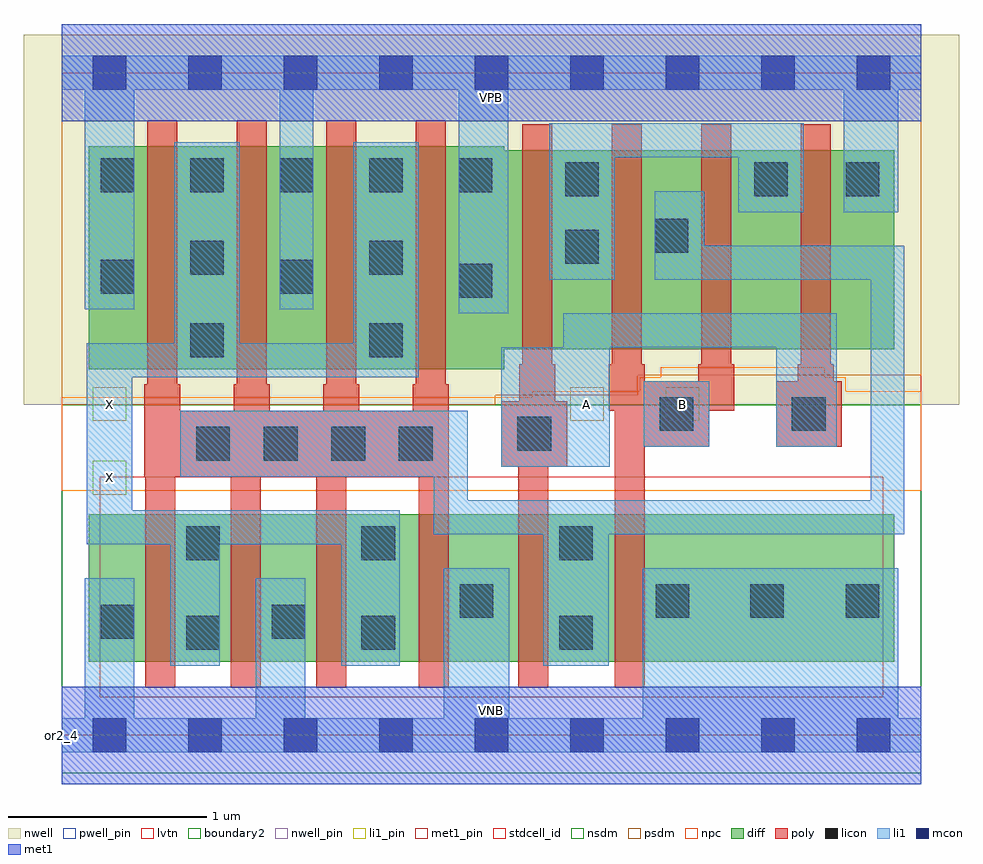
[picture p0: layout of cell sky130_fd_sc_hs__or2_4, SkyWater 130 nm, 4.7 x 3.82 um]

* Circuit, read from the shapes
.subckt sky130_fd_sc_hs__or2_4 A B VGND VNB VPB VPWR X
XM1 X n1 VGND VNB sky130_fd_pr__nfet_01v8_lvt w=0.74 l=0.15 m=4
XM2 n1 A VGND VNB sky130_fd_pr__nfet_01v8_lvt w=0.74 l=0.15
XM3 VGND B n1 VNB sky130_fd_pr__nfet_01v8_lvt w=0.74 l=0.15
XM4 X n1 VPWR VPB sky130_fd_pr__pfet_01v8 w=1.12 l=0.15 m=4
XM5 n2 A VPWR VPB sky130_fd_pr__pfet_01v8 w=1 l=0.15 m=2
XM6 n1 B n2 VPB sky130_fd_pr__pfet_01v8 w=1 l=0.15 m=2
.ends

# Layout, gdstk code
import gdstk
lib = gdstk.Library(unit=1e-6, precision=1e-09)
def R(c, l, rs):  # rectangles x0, y0, x1, y1
    for r in rs: c.add(gdstk.rectangle(r[:2], r[2:], *l))
def A(c, l, x, y, w, h, nx, ny, dx, dy):  # array of equal rectangles
    R(c, l, [(x+i*dx, y+j*dy, x+i*dx+w, y+j*dy+h) for i in range(nx) for j in range(ny)])
def P(c, l, *ps):  # polygons
    for p in ps: c.add(gdstk.Polygon(p, *l))
nwell_pin = (64, 16)
nwell = (64, 20)
diff = (65, 20)
poly = (66, 20)
licon = (66, 44)
li1_pin = (67, 16)
li1 = (67, 20)
mcon = (67, 44)
met1_pin = (68, 16)
met1 = (68, 20)
stdcell_id = (81, 4)
nsdm = (93, 44)
psdm = (94, 20)
npc = (95, 20)
pwell_pin = (122, 16)
lvtn = (125, 44)
boundary2 = (236, 0)

sky130_fd_sc_hs__or2_4 = lib.new_cell('sky130_fd_sc_hs__or2_4')
R(sky130_fd_sc_hs__or2_4, nwell_pin, [(0,3.085,4.32,3.33)])
R(sky130_fd_sc_hs__or2_4, nwell, [(-0.19,1.66,4.51,3.52)])
R(sky130_fd_sc_hs__or2_4, diff, [(0.135,0.37,4.185,1.11)])
P(sky130_fd_sc_hs__or2_4, diff, [(4.185,2.94),(2.225,2.94),(2.225,2.96),(0.135,2.96),(0.135,1.84),(2.225,1.84),(2.225,1.94),(4.185,1.94)])
P(sky130_fd_sc_hs__or2_4, poly, [(3.92,1.78),(3.88,1.78),(3.88,1.865),(3.865,1.865),(3.865,3.07),(3.715,3.07),(3.715,1.865),(3.7,1.865),(3.7,1.78),(3.59,1.78),(3.59,1.45),(3.92,1.45)],
  [(3.38,1.865),(3.365,1.865),(3.365,3.07),(3.215,3.07),(3.215,1.865),(3.2,1.865),(3.2,1.78),(2.93,1.78),(2.93,1.865),(2.915,1.865),(2.915,3.07),(2.765,3.07),(2.765,1.865),(2.75,1.865),(2.75,1.63),(2.78,1.63),(2.78,0.24),(2.93,0.24),(2.93,1.45),(3.255,1.45),(3.255,1.63),(3.38,1.63)],
  [(2.54,1.68),(2.48,1.68),(2.48,1.865),(2.465,1.865),(2.465,3.07),(2.315,3.07),(2.315,1.865),(2.3,1.865),(2.3,1.68),(2.21,1.68),(2.21,1.35),(2.295,1.35),(2.295,0.24),(2.445,0.24),(2.445,1.35),(2.54,1.35)],
  [(1.945,1.765),(1.93,1.765),(1.93,3.09),(1.78,3.09),(1.78,1.765),(1.765,1.765),(1.765,1.63),(1.495,1.63),(1.495,1.765),(1.48,1.765),(1.48,3.09),(1.33,3.09),(1.33,1.765),(1.315,1.765),(1.315,1.63),(1.045,1.63),(1.045,1.765),(1.03,1.765),(1.03,3.09),(0.88,3.09),(0.88,1.765),(0.865,1.765),(0.865,1.63),(0.595,1.63),(0.595,1.765),(0.58,1.765),(0.58,3.09),(0.43,3.09),(0.43,1.765),(0.415,1.765),(0.415,1.3),(0.42,1.3),(0.42,0.24),(0.57,0.24),(0.57,1.3),(0.85,1.3),(0.85,0.24),(1,0.24),(1,1.3),(1.28,1.3),(1.28,0.24),(1.43,0.24),(1.43,1.3),(1.795,1.3),(1.795,0.24),(1.945,0.24)])
A(sky130_fd_sc_hs__or2_4, licon, 0.675, 1.38, 0.17, 0.17, 4, 1, 0.34, 0)
A(sky130_fd_sc_hs__or2_4, licon, 0.195, 2.73, 0.17, 0.17, 5, 1, 0.45, 0)
R(sky130_fd_sc_hs__or2_4, licon, [(0.625,0.43,0.795,0.6), (1.505,0.43,1.675,0.6), (2.5,0.43,2.67,0.6), (0.195,0.485,0.365,0.655), (1.055,0.485,1.225,0.655), (2,0.59,2.17,0.76), (2.985,0.59,3.155,0.76), (3.46,0.59,3.63,0.76), (3.94,0.59,4.11,0.76), (0.625,0.88,0.795,1.05), (1.505,0.88,1.675,1.05), (2.5,0.88,2.67,1.05), (2.29,1.43,2.46,1.6), (3.005,1.53,3.175,1.7), (3.67,1.53,3.84,1.7), (0.645,1.9,0.815,2.07), (1.545,1.9,1.715,2.07), (1.995,2.2,2.165,2.37), (0.195,2.22,0.365,2.39), (1.095,2.22,1.265,2.39), (0.645,2.315,0.815,2.485), (1.545,2.315,1.715,2.485), (2.53,2.37,2.7,2.54), (2.98,2.425,3.15,2.595), (2.53,2.71,2.7,2.88), (3.48,2.71,3.65,2.88), (3.94,2.71,4.11,2.88)])
R(sky130_fd_sc_hs__or2_4, li1_pin, [(0.155,1.21,0.325,1.38), (0.155,1.58,0.325,1.75), (2.555,1.58,2.725,1.75), (3.035,1.58,3.205,1.75)])
R(sky130_fd_sc_hs__or2_4, li1, [(2.925,1.45,3.255,1.78)])
P(sky130_fd_sc_hs__or2_4, li1, [(0,-0.085),(0,0.085),(0.115,0.085),(0.115,0.79),(0.365,0.79),(0.365,0.085),(0.975,0.085),(0.975,0.79),(1.225,0.79),(1.225,0.085),(1.92,0.085),(1.92,0.84),(2.25,0.84),(2.25,0.085),(2.92,0.085),(2.92,0.84),(4.205,0.84),(4.205,0.085),(4.32,0.085),(4.32,-0.085)],
  [(0,3.245),(0,3.415),(4.32,3.415),(4.32,3.245),(4.205,3.245),(4.205,2.63),(3.93,2.63),(3.93,3.245),(2.245,3.245),(2.245,2.12),(1.995,2.12),(1.995,3.245),(1.265,3.245),(1.265,2.14),(1.095,2.14),(1.095,3.245),(0.365,3.245),(0.365,2.14),(0.115,2.14),(0.115,3.245)],
  [(0.355,1.13),(1.7,1.13),(1.7,0.35),(1.405,0.35),(1.405,0.96),(0.795,0.96),(0.795,0.35),(0.545,0.35),(0.545,0.96),(0.125,0.96),(0.125,1.97),(0.565,1.97),(0.565,2.98),(0.895,2.98),(0.895,1.97),(1.465,1.97),(1.465,2.98),(1.795,2.98),(1.795,1.8),(0.355,1.8)],
  [(2.21,1.35),(2.21,1.95),(2.52,1.95),(2.52,2.12),(3.895,2.12),(3.895,1.45),(3.59,1.45),(3.59,1.95),(2.755,1.95),(2.755,1.35)],
  [(1.87,1.01),(1.87,1.3),(0.595,1.3),(0.595,1.63),(2.04,1.63),(2.04,1.18),(4.065,1.18),(4.065,2.29),(2.98,2.29),(2.98,2.735),(3.23,2.735),(3.23,2.46),(4.235,2.46),(4.235,1.01),(2.75,1.01),(2.75,0.35),(2.42,0.35),(2.42,1.01)],
  [(3.4,2.63),(3.4,2.905),(2.78,2.905),(2.78,2.29),(2.45,2.29),(2.45,3.075),(3.73,3.075),(3.73,2.63)])
A(sky130_fd_sc_hs__or2_4, mcon, 0.155, -0.085, 0.17, 0.17, 9, 2, 0.48, 3.33)
R(sky130_fd_sc_hs__or2_4, met1_pin, [(0,0,4.32,0.245), (0,3.085,4.32,3.33)])
R(sky130_fd_sc_hs__or2_4, met1, [(0,-0.245,4.32,0.245), (0,3.085,4.32,3.575)])
R(sky130_fd_sc_hs__or2_4, stdcell_id, [(0,0,4.32,3.33)])
R(sky130_fd_sc_hs__or2_4, nsdm, [(0,-0.19,4.32,1.66)])
P(sky130_fd_sc_hs__or2_4, psdm, [(4.32,3.52),(0,3.52),(0,1.66),(2.18,1.66),(2.18,1.71),(2.895,1.71),(2.895,1.81),(4.32,1.81)])
P(sky130_fd_sc_hs__or2_4, npc, [(4.32,1.73),(3.94,1.73),(3.94,1.8),(3.835,1.8),(3.835,1.85),(3.01,1.85),(3.01,1.8),(2.905,1.8),(2.905,1.73),(2.365,1.73),(2.365,1.7),(0,1.7),(0,1.23),(4.32,1.23)])
R(sky130_fd_sc_hs__or2_4, pwell_pin, [(0,0,4.32,0.245)])
R(sky130_fd_sc_hs__or2_4, lvtn, [(0.19,0.19,4.13,1.3)])
R(sky130_fd_sc_hs__or2_4, boundary2, [(0,0,4.32,3.33)])
sky130_fd_sc_hs__or2_4.add(gdstk.Label('or2_4', (0,0), layer=83, texttype=44))
sky130_fd_sc_hs__or2_4.add(gdstk.Label('VNB', (2.16,0.123), layer=64, texttype=59))
sky130_fd_sc_hs__or2_4.add(gdstk.Label('VPB', (2.16,3.208), layer=64, texttype=5))
sky130_fd_sc_hs__or2_4.add(gdstk.Label('VPWR', (2.16,3.208), layer=68, texttype=5))
sky130_fd_sc_hs__or2_4.add(gdstk.Label('VGND', (2.16,0.123), layer=68, texttype=5))
sky130_fd_sc_hs__or2_4.add(gdstk.Label('X', (0.24,1.295), layer=67, texttype=5))
sky130_fd_sc_hs__or2_4.add(gdstk.Label('X', (0.24,1.665), layer=67, texttype=5))
sky130_fd_sc_hs__or2_4.add(gdstk.Label('B', (3.12,1.665), layer=67, texttype=5))
sky130_fd_sc_hs__or2_4.add(gdstk.Label('A', (2.64,1.665), layer=67, texttype=5))

lib.write_gds('sky130_fd_sc_hs__or2_4.gds')
